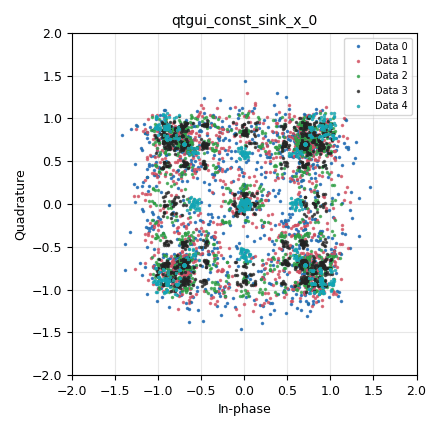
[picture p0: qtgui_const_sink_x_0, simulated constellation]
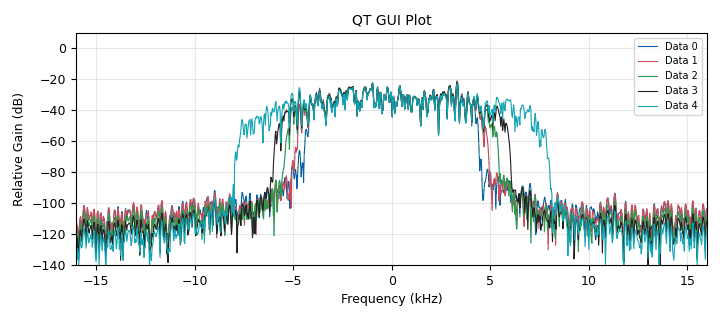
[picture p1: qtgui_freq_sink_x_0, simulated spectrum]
<?xml version='1.0' encoding='utf-8'?>
<?grc format='1' created='3.7.13'?>
<flow_graph>
<block>
<key>options</key>
<param><key>id</key><value>mpsk_tx_constellationmod_qt</value></param>
<param><key>author</key><value>Walt Kilar</value></param>
<param><key>category</key><value>Custom</value></param>
<param><key>generate_options</key><value>qt_gui</value></param>
<param><key>title</key><value>MPSK Transmitter</value></param>
</block>
<block>
<key>variable</key>
<param><key>id</key><value>arity</value></param>
<param><key>value</key><value>4</value></param>
</block>
<block>
<key>variable</key>
<param><key>id</key><value>excess_bw</value></param>
<param><key>value</key><value>0.35</value></param>
</block>
<block>
<key>variable_constellation_rect</key>
<param><key>id</key><value>qpsk_const</value></param>
<param><key>const_points</key><value>[-1-1j, -1+1j, 1+1j, 1-1j]</value></param>
<param><key>imag_sect</key><value>2</value></param>
<param><key>real_sect</key><value>2</value></param>
<param><key>rot_sym</key><value>4</value></param>
<param><key>sym_map</key><value>[0, 1, 3, 2]</value></param>
<param><key>w_imag_sect</key><value>1</value></param>
<param><key>w_real_sect</key><value>1</value></param>
</block>
<block>
<key>variable</key>
<param><key>id</key><value>samp_rate</value></param>
<param><key>value</key><value>32000</value></param>
</block>
<block>
<key>variable</key>
<param><key>id</key><value>sps</value></param>
<param><key>value</key><value>4</value></param>
</block>
<block>
<key>analog_random_source_x</key>
<param><key>id</key><value>analog_random_source_x_0</value></param>
<param><key>max</key><value>255</value></param>
<param><key>min</key><value>0</value></param>
<param><key>num_samps</key><value>1000</value></param>
<param><key>type</key><value>byte</value></param>
<param><key>repeat</key><value>True</value></param>
</block>
<block>
<key>blocks_throttle</key>
<param><key>id</key><value>blocks_throttle_0</value></param>
<param><key>samples_per_second</key><value>samp_rate</value></param>
<param><key>type</key><value>complex</value></param>
</block>
<block>
<key>digital_constellation_modulator</key>
<param><key>id</key><value>digital_constellation_modulator_0</value></param>
<param><key>constellation</key><value>qpsk_const</value></param>
<param><key>differential</key><value>True</value></param>
<param><key>excess_bw</key><value>0.1</value></param>
<param><key>samples_per_symbol</key><value>sps</value></param>
</block>
<block>
<key>digital_constellation_modulator</key>
<param><key>id</key><value>digital_constellation_modulator_0_0</value></param>
<param><key>constellation</key><value>qpsk_const</value></param>
<param><key>differential</key><value>True</value></param>
<param><key>excess_bw</key><value>0.22</value></param>
<param><key>samples_per_symbol</key><value>sps</value></param>
</block>
<block>
<key>digital_constellation_modulator</key>
<param><key>id</key><value>digital_constellation_modulator_0_0_0</value></param>
<param><key>constellation</key><value>qpsk_const</value></param>
<param><key>differential</key><value>True</value></param>
<param><key>excess_bw</key><value>0.5</value></param>
<param><key>samples_per_symbol</key><value>sps</value></param>
</block>
<block>
<key>digital_constellation_modulator</key>
<param><key>id</key><value>digital_constellation_modulator_0_0_0_0</value></param>
<param><key>constellation</key><value>qpsk_const</value></param>
<param><key>differential</key><value>True</value></param>
<param><key>excess_bw</key><value>1.0</value></param>
<param><key>samples_per_symbol</key><value>sps</value></param>
</block>
<block>
<key>digital_constellation_modulator</key>
<param><key>id</key><value>digital_constellation_modulator_0_1</value></param>
<param><key>constellation</key><value>qpsk_const</value></param>
<param><key>differential</key><value>True</value></param>
<param><key>excess_bw</key><value>0.35</value></param>
<param><key>samples_per_symbol</key><value>sps</value></param>
</block>
<block>
<key>qtgui_const_sink_x</key>
<param><key>id</key><value>qtgui_const_sink_x_0</value></param>
<param><key>color3</key><value>"red"</value></param>
<param><key>color4</key><value>"red"</value></param>
<param><key>color5</key><value>"red"</value></param>
<param><key>nconnections</key><value>5</value></param>
<param><key>size</key><value>1024</value></param>
<param><key>type</key><value>complex</value></param>
</block>
<block>
<key>qtgui_freq_sink_x</key>
<param><key>id</key><value>qtgui_freq_sink_x_0</value></param>
<param><key>bw</key><value>samp_rate</value></param>
<param><key>fc</key><value>0</value></param>
<param><key>ctrlpanel</key><value>True</value></param>
<param><key>fftsize</key><value>1024</value></param>
<param><key>gui_hint</key><value>1,0,1,2</value></param>
<param><key>label2</key><value></value></param>
<param><key>label3</key><value></value></param>
<param><key>label4</key><value></value></param>
<param><key>label5</key><value></value></param>
<param><key>name</key><value>QT GUI Plot</value></param>
<param><key>nconnections</key><value>5</value></param>
<param><key>showports</key><value>True</value></param>
<param><key>type</key><value>complex</value></param>
<param><key>wintype</key><value>firdes.WIN_BLACKMAN_hARRIS</value></param>
</block>
<connection><source_block_id>analog_random_source_x_0</source_block_id><sink_block_id>digital_constellation_modulator_0</sink_block_id><source_key>0</source_key><sink_key>0</sink_key></connection>
<connection><source_block_id>analog_random_source_x_0</source_block_id><sink_block_id>digital_constellation_modulator_0_0</sink_block_id><source_key>0</source_key><sink_key>0</sink_key></connection>
<connection><source_block_id>analog_random_source_x_0</source_block_id><sink_block_id>digital_constellation_modulator_0_0_0</sink_block_id><source_key>0</source_key><sink_key>0</sink_key></connection>
<connection><source_block_id>analog_random_source_x_0</source_block_id><sink_block_id>digital_constellation_modulator_0_0_0_0</sink_block_id><source_key>0</source_key><sink_key>0</sink_key></connection>
<connection><source_block_id>analog_random_source_x_0</source_block_id><sink_block_id>digital_constellation_modulator_0_1</sink_block_id><source_key>0</source_key><sink_key>0</sink_key></connection>
<connection><source_block_id>blocks_throttle_0</source_block_id><sink_block_id>qtgui_const_sink_x_0</sink_block_id><source_key>0</source_key><sink_key>0</sink_key></connection>
<connection><source_block_id>blocks_throttle_0</source_block_id><sink_block_id>qtgui_freq_sink_x_0</sink_block_id><source_key>0</source_key><sink_key>0</sink_key></connection>
<connection><source_block_id>digital_constellation_modulator_0</source_block_id><sink_block_id>blocks_throttle_0</sink_block_id><source_key>0</source_key><sink_key>0</sink_key></connection>
<connection><source_block_id>digital_constellation_modulator_0_0</source_block_id><sink_block_id>qtgui_const_sink_x_0</sink_block_id><source_key>0</source_key><sink_key>1</sink_key></connection>
<connection><source_block_id>digital_constellation_modulator_0_0</source_block_id><sink_block_id>qtgui_freq_sink_x_0</sink_block_id><source_key>0</source_key><sink_key>1</sink_key></connection>
<connection><source_block_id>digital_constellation_modulator_0_0_0</source_block_id><sink_block_id>qtgui_const_sink_x_0</sink_block_id><source_key>0</source_key><sink_key>3</sink_key></connection>
<connection><source_block_id>digital_constellation_modulator_0_0_0</source_block_id><sink_block_id>qtgui_freq_sink_x_0</sink_block_id><source_key>0</source_key><sink_key>3</sink_key></connection>
<connection><source_block_id>digital_constellation_modulator_0_0_0_0</source_block_id><sink_block_id>qtgui_const_sink_x_0</sink_block_id><source_key>0</source_key><sink_key>4</sink_key></connection>
<connection><source_block_id>digital_constellation_modulator_0_0_0_0</source_block_id><sink_block_id>qtgui_freq_sink_x_0</sink_block_id><source_key>0</source_key><sink_key>4</sink_key></connection>
<connection><source_block_id>digital_constellation_modulator_0_1</source_block_id><sink_block_id>qtgui_const_sink_x_0</sink_block_id><source_key>0</source_key><sink_key>2</sink_key></connection>
<connection><source_block_id>digital_constellation_modulator_0_1</source_block_id><sink_block_id>qtgui_freq_sink_x_0</sink_block_id><source_key>0</source_key><sink_key>2</sink_key></connection>
</flow_graph>
